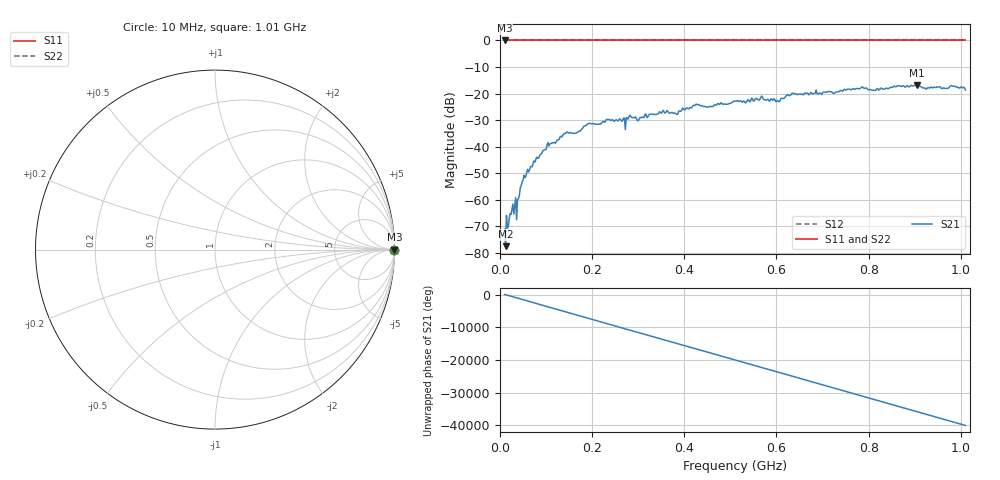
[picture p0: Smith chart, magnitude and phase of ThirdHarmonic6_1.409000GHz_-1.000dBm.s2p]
! 8/16/2025 4:08:59 PM
! C:\ANRITSUVNA\TEMP\TEMP.S2P
! CHANNEL.1
! TR.MEASUREMENT
! RAW.DATA
! RF.CORRECTION.OFF
! AVERAGING.OFF
! IF.BANDWIDTH: 5KHZ
! SWEEPTYPE:  FREQ.SWEEP(Linear)
! Reference Plane Port Info
! PORT:  PORT1  PORT2
! DISTANCE:  0  m  0  m
! TIME:  0  s  0  s
! PHASE.OFFSET:  0  deg.  0  deg.
! LOSS:  0  dB  0  dB
! REF.LOSS:  0  dB  0  dB
! REF.FREQ:  0  Hz  0  Hz
! Power Info
! POWER:  -20  dBm  -20  dBm
! EFF.POWER:  -20  dBm  -20  dBm
! SOURCE.ATTEN:  0  dB  0  dB
! TEST.ATTEN:  0  dB  0  dB
# GHZ S RI R 50.0
! FREQ.GHZ  S11RE  S11IM  S21RE  S21IM  S12RE  S12IM  S22RE  S22IM
!; PortSelection: Port_12
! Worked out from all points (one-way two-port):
!   501 points, 10 MHz to 1.01 GHz, reference 50 ohm
!   highest |S21| = -16.83 dB at 904 MHz (marker M1); lowest = -77.4 dB at 12 MHz (marker M2)
!   lowest |S11| = 0.0 dB at 10 MHz (marker M3)
!   |S11| at or under -10 dB: nowhere
!   |S22| runs from 0.0 to 0.0 dB; largest |S21 - S12| = 1.1
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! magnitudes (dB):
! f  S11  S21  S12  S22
! 10 MHz  0.0  -71.0  0.0  0.0
! 12 MHz  0.0  -77.4  0.0  0.0
! 24 MHz  0.0  -65.5  0.0  0.0
! 40 MHz  0.0  -59.6  0.0  0.0
! 48 MHz  0.0  -53.3  0.0  0.0
! 76 MHz  0.0  -45.7  0.0  0.0
! 106 MHz  0.0  -39.7  0.0  0.0
! 142 MHz  0.0  -35.0  0.0  0.0
! 178 MHz  0.0  -33.3  0.0  0.0
! 234 MHz  0.0  -29.8  0.0  0.0
! 268 MHz  0.0  -29.2  0.0  0.0
! 344 MHz  0.0  -27.5  0.0  0.0
! 382 MHz  0.0  -27.6  0.0  0.0
! 424 MHz  0.0  -24.2  0.0  0.0
! 510 MHz  0.0  -22.8  0.0  0.0
! 568 MHz  0.0  -20.9  0.0  0.0
! 602 MHz  0.0  -22.6  0.0  0.0
! 636 MHz  0.0  -19.9  0.0  0.0
! 678 MHz  0.0  -20.1  0.0  0.0
! 844 MHz  0.0  -18.0  0.0  0.0
! 904 MHz  0.0  -16.8  0.0  0.0
! 1.01 GHz  0.0  -18.6  0.0  0.0
